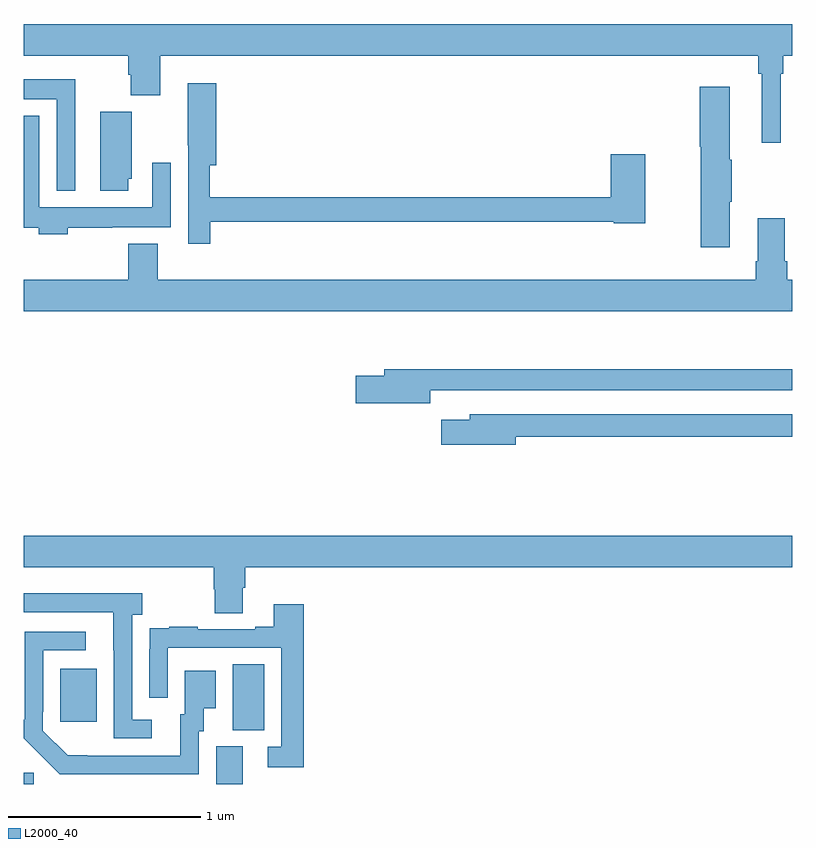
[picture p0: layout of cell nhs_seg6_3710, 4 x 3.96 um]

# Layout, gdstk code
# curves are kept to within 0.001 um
import gdstk
lib = gdstk.Library(unit=1e-6, precision=1e-09)
def R(c, l, rs):  # rectangles x0, y0, x1, y1
    for r in rs: c.add(gdstk.rectangle(r[:2], r[2:], *l))
def P(c, l, *ps):  # polygons
    for p in ps: c.add(gdstk.Polygon(p, *l))
L2000_40 = (2000, 40)

nhs_seg6_3710 = lib.new_cell('nhs_seg6_3710')
R(nhs_seg6_3710, L2000_40, [(327,987.5,327.051,987.558), (328.001,987.5,328.141,987.696), (328.088,987.781,328.252,988.124), (327.191,987.825,327.379,988.099)])
P(nhs_seg6_3710, L2000_40, [(327,991.292),(327.545,991.292),(327.545,991.193),(327.557,991.193),(327.557,991.084),(327.71,991.084),(327.71,991.292),(330.823,991.292),(330.823,991.196),(330.842,991.196),(330.842,990.837),(330.939,990.837),(330.939,991.196),(330.953,991.196),(330.953,991.292),(331,991.292),(331,991.456),(327,991.456)],
  [(327.268,991.168),(327,991.168),(327,991.064),(327.171,991.064),(327.171,990.587),(327.268,990.587)],
  [(327.971,990.426),(330.072,990.426),(330.072,990.418),(330.234,990.418),(330.234,990.778),(330.056,990.778),(330.056,990.554),(327.967,990.554),(327.967,990.722),(328.001,990.722),(328.001,991.147),(327.854,991.147),(327.854,990.826),(327.855,990.826),(327.855,990.312),(327.971,990.312)],
  [(330.676,990.532),(330.684,990.532),(330.684,990.749),(330.676,990.749),(330.676,991.129),(330.518,991.129),(330.518,990.816),(330.523,990.816),(330.523,990.294),(330.676,990.294)],
  [(327.544,990.651),(327.562,990.651),(327.562,990.999),(327.398,990.999),(327.398,990.588),(327.544,990.588)],
  [(327.23,990.396),(327.461,990.396),(327.461,990.398),(327.765,990.398),(327.765,990.733),(327.669,990.733),(327.669,990.502),(327.081,990.502),(327.081,990.979),(327,990.979),(327,990.396),(327.077,990.396),(327.077,990.362),(327.23,990.362)],
  [(331,990.124),(330.974,990.124),(330.974,990.22),(330.961,990.22),(330.961,990.445),(330.821,990.445),(330.821,990.22),(330.809,990.22),(330.809,990.124),(327.697,990.124),(327.697,990.313),(327.545,990.313),(327.545,990.124),(327,990.124),(327,989.96),(331,989.96)],
  [(329.116,989.55),(331,989.55),(331,989.659),(328.877,989.659),(328.877,989.625),(328.728,989.625),(328.728,989.483),(329.116,989.483)],
  [(329.56,989.308),(331,989.308),(331,989.424),(329.321,989.424),(329.321,989.395),(329.172,989.395),(329.172,989.266),(329.56,989.266)],
  [(328.141,988.522),(328.154,988.522),(328.154,988.628),(331,988.628),(331,988.792),(327,988.792),(327,988.628),(327.989,988.628),(327.989,988.515),(327.994,988.515),(327.994,988.39),(328.141,988.39)],
  [(327.667,987.834),(327.564,987.834),(327.564,988.382),(327.616,988.382),(327.616,988.492),(327,988.492),(327,988.395),(327.467,988.395),(327.467,988.195),(327.468,988.195),(327.468,987.738),(327.667,987.738)],
  [(328.457,988.435),(328.301,988.435),(328.301,988.318),(328.205,988.318),(328.205,988.305),(327.905,988.305),(327.905,988.318),(327.757,988.318),(327.757,988.311),(327.655,988.311),(327.655,988.202),(327.654,988.202),(327.654,987.948),(327.75,987.948),(327.75,988.209),(328.341,988.209),(328.341,987.693),(328.269,987.693),(328.269,987.588),(328.457,987.588)],
  [(327.912,987.774),(327.937,987.774),(327.937,987.893),(328,987.893),(328,988.09),(327.839,988.09),(327.839,987.864),(327.815,987.864),(327.815,987.648),(327.228,987.649),(327.099,987.777),(327.099,987.877),(327.102,987.877),(327.102,988.197),(327.322,988.197),(327.322,988.293),(327.006,988.293),(327.006,987.835),(327,987.835),(327,987.738),(327.188,987.552),(327.912,987.552)])

lib.write_gds('nhs_seg6_3710.gds')
